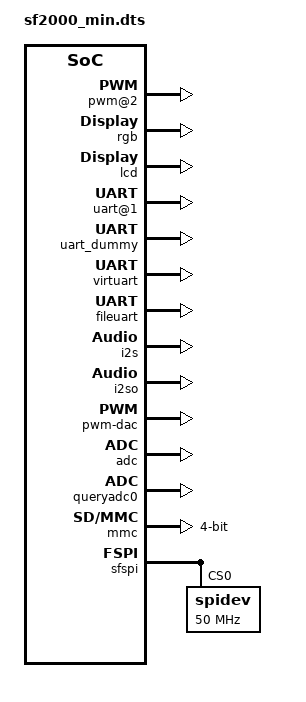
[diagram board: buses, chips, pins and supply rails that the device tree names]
/dts-v1/;

#ifndef UNIFROG_SD_BUS_WIDTH
#define UNIFROG_SD_BUS_WIDTH 4
#endif
#ifndef UNIFROG_SD_CAP_HIGHSPEED
#define UNIFROG_SD_CAP_HIGHSPEED 1
#endif
#ifndef UNIFROG_SD_CAP_UHS
#define UNIFROG_SD_CAP_UHS 1
#endif
#ifndef UNIFROG_SD_NO_1V8
#define UNIFROG_SD_NO_1V8 0
#endif

#include <dt-bindings/gpio/gpio.h>
#include <uapi/hcuapi/pinpad.h>
#include <uapi/hcuapi/pinmux/hc15xx_pinmux.h>

#define CONFIG_MEMORY_SIZE 0x08000000

#if (CONFIG_MEMORY_SIZE == 0x04000000)
#define CONFIG_MEDIAPLAYER_ROTATE_HIGH_QUALITY 0 
#else
//0:MAX SCALE FACTOR:1/2
//1:MAX SCALE FACTOR:1:1(NEED MORE MEMORY)
#define CONFIG_MEDIAPLAYER_ROTATE_HIGH_QUALITY 0
#endif

#define CONFIG_VIDEO_IN_SHARE_WITH_VDEC 1
#define CONFIG_HDMI_RX_SUPPORT 0
#define CONFIG_VIN_DVP_SUPPORT 0
#define CONFIG_VIN_TVDEC_SUPPORT 0 
#define CONFIG_VIDEO_IN_SUPPORT (CONFIG_HDMI_RX_SUPPORT | CONFIG_VIN_DVP_SUPPORT | CONFIG_VIN_TVDEC_SUPPORT)
#define CONFIG_DE4K_OUTPUT_SUPPORT 0
#define CONFIG_DUAL_OUTPUT_SUPPORT 1
#define CONFIG_VGA_OUTPUT_SUPPORT 1
#define CONFIG_CVBS_OUTPUT_SUPPORT 1

#define CONFIG_MM_FB_SIZE (0x10cf200)
#define CONFIG_MM_VBV_SIZE (0x12c000)
#define CONFIG_MM_MF_SIZE (0x198c00)
#define CONFIG_MM_VIN_FB_SIZE (1920*1088*2*3)
#define CONFIG_MM_VC_FB_SIZE (736*576*2*2)

#define MAX_EXTRA_FB_NUM (3)
#define MAX_REF_FB_NUM (7)		//if usb wired cast:MIN NUM:5
#define MAX_TOTAL_FB_NUM (MAX_REF_FB_NUM + MAX_EXTRA_FB_NUM)
#define MAX_WIDTH (720)
#define MAX_HEIGHT (576)
#define MAX_MB_WIDTH (MAX_WIDTH / 16)
#define MAX_MB_HEIGHT (MAX_HEIGHT / 16)
#define ONE_MV_SIZE (32 * MAX_MB_WIDTH * MAX_MB_HEIGHT)
#define AVC_MV_SIZE (ONE_MV_SIZE * MAX_TOTAL_FB_NUM)
#define AVC_MB_COL_SIZE (0x3000 * MAX_TOTAL_FB_NUM)
#if (CONFIG_MEDIAPLAYER_ROTATE_HIGH_QUALITY == 1)
#define MAX_SCALE_BUF_NUM (13 - MAX_TOTAL_FB_NUM)
#else
#define MAX_SCALE_BUF_NUM (0)
#endif
#define AVC_TOTAL_FB_SIZE (MAX_WIDTH*MAX_HEIGHT*3/2*(MAX_TOTAL_FB_NUM+MAX_SCALE_BUF_NUM))
#define AVC_MEM_SIZE ((AVC_TOTAL_FB_SIZE + AVC_MB_COL_SIZE + AVC_MV_SIZE+ 1023)&0xFFFFFFC00 )

#define CONFIG_AVC_MB_NEI_SIZE (0xf000)
#define CONFIG_AVC_CMD_QUEUE_SIZE (0x10000)
#define CONFIG_AVC_VBV_SIZE (0x80000)
#define CONFIG_AVC_MEM_SIZE AVC_MEM_SIZE
#define CONFIG_AVC_TOTAL_SIZE                                                  \
	(CONFIG_AVC_MB_NEI_SIZE + CONFIG_AVC_CMD_QUEUE_SIZE +                  \
	 CONFIG_AVC_VBV_SIZE + CONFIG_AVC_MEM_SIZE)

#define __HCRTOS_MMZ0_SIZE                                                     \
	(CONFIG_AVC_TOTAL_SIZE +                                               \
	 (CONFIG_DUAL_OUTPUT_SUPPORT * CONFIG_MM_VC_FB_SIZE) +               \
	 ((CONFIG_VIDEO_IN_SUPPORT && (!CONFIG_VIDEO_IN_SHARE_WITH_VDEC)) * CONFIG_MM_VIN_FB_SIZE))

#define HCRTOS_MMZ_BLOCKLOG (12)
#define HCRTOS_MMZ0_SIZE (0)
#define HCRTOS_MMZ0_OFFSET (CONFIG_MEMORY_SIZE)

#define UNIFROG_SYSMEM_MIN_SIZE (0x03000000)
#define UNIFROG_FASTBOOT_RESERVED_SIZE (0x00019000)
#define UNIFROG_APPMEM_SIZE                                                    \
	(CONFIG_MEMORY_SIZE > UNIFROG_SYSMEM_MIN_SIZE ?                       \
	 (CONFIG_MEMORY_SIZE - UNIFROG_SYSMEM_MIN_SIZE -                     \
	  UNIFROG_FASTBOOT_RESERVED_SIZE) :                                   \
	 0)
#define UNIFROG_APPMEM_OFFSET (UNIFROG_SYSMEM_MIN_SIZE)
#define UNIFROG_FASTBOOT_RESERVED_OFFSET                                       \
	(CONFIG_MEMORY_SIZE - UNIFROG_FASTBOOT_RESERVED_SIZE)

#define HCRTOS_SYSMEM_SIZE (UNIFROG_SYSMEM_MIN_SIZE)
#define HCRTOS_SYSMEM_OFFSET (0)

#define HCRTOS_BOOTMEM_SIZE (0x1000000)
#define HCRTOS_BOOTMEM_OFFSET (((HCRTOS_SYSMEM_SIZE < 0xc000000 ? HCRTOS_SYSMEM_SIZE : 0xc000000) - 0x1000000) & 0xffff0000)

/{
hcrtos {
	#address-cells = <1>;
	#size-cells = <1>;
	memory-mapping {
		#address-cells = <1>;
		#size-cells = <1>;
		bootmem {
			reg = <HCRTOS_BOOTMEM_OFFSET HCRTOS_BOOTMEM_SIZE>;
		};

		sysmem {
			reg = <HCRTOS_SYSMEM_OFFSET HCRTOS_SYSMEM_SIZE>;
		};

		appmem {
			reg = <UNIFROG_APPMEM_OFFSET UNIFROG_APPMEM_SIZE>;
		};

		fastboot_reserved {
			reg = <UNIFROG_FASTBOOT_RESERVED_OFFSET UNIFROG_FASTBOOT_RESERVED_SIZE>;
		};

		mmz0 {
			id = <0>;
			reg = <HCRTOS_MMZ0_OFFSET HCRTOS_MMZ0_SIZE>;
			blocklog = <HCRTOS_MMZ_BLOCKLOG>;
		};
	};

	board {
		label = "hc1512a@dbB210";
	};

	scpu {
		/*
		 * 0 : 594M
		 * 1 : 396M
		 * 2 : 297M
		 * 3 : 198M
		 * 4 : 198M
		 * 5 : 198M
		 * 6 : 198M
		 * 7 : SCPU dig pll clk
		 */
		clock = <7>;
		scpu-dig-pll-clk = <810>;
	};

	standby {
		ir = <28>;  	// key val
	};

	hdmi {
		/*
		 * 0: fxde
		 * 1: de4k
		 * 2: hdmi rx
		 * 3: pq rgb
		 */
		tx_source = <CONFIG_DE4K_OUTPUT_SUPPORT>;
		i2c-devpath = "/dev/i2c1";
		pinmux-hotplug = <PINPAD_L27 5>;
		status = "disabled";
	};

	video-engine {
		/*
		 * 0 : 170M
		 * 1 : 148M
		 * 2 : 238M
		 * 3 : 266M
		 * 4 : 297M
		 * 5 : 198M
		 * 6 : SCPU dig pll clk/2
		 */
		clock = <4>;
		dynamic-resolution-support = <0>;
		video-in-support = <CONFIG_VIDEO_IN_SUPPORT>;

		mm-fb-size = <CONFIG_MM_FB_SIZE>;
		mm-vbv-size = <CONFIG_MM_VBV_SIZE>;
		mm-mf-size = <CONFIG_MM_MF_SIZE>;
		mm-vin-fb-size = <CONFIG_MM_VIN_FB_SIZE>;

		avc-extra-fb-num = <MAX_EXTRA_FB_NUM>;
		avc-mb-nei-size = <CONFIG_AVC_MB_NEI_SIZE>;
		avc-cmd-queue-size = <CONFIG_AVC_CMD_QUEUE_SIZE>;
		avc-vbv-size = <CONFIG_AVC_VBV_SIZE>;
		avc-mem-size = <CONFIG_AVC_MEM_SIZE>;
		status = "okay";
	};

	DE: de-engine {
		dual-output = <CONFIG_DUAL_OUTPUT_SUPPORT>;
		mm-vc-fb-size = <CONFIG_MM_VC_FB_SIZE>;

		de4k-output = <CONFIG_DE4K_OUTPUT_SUPPORT>;
		/*
		 * copy it from avp-custom/components/kernel/source/include/uapi/hcuapi/tvtype.h
		 * TV_PAL = 0,			// (Fh=15.625,fv=50)       PAL4.43 (==PAL_BDGHI)
		 * TV_NTSC = 1,			// (Fh=15.734,Fv=59.94)    NTSC3.58
		 * TV_PAL_M = 2,			// (Fh=15.734,Fv=59.94)    PAL3.58
		 * TV_PAL_N = 3,			// (Fh=15.625,fv=50)       PAL4.43 (changed PAL mode) 
		 * TV_PAL_60 = 4,			// (Fh=15.734,Fv=59.94)
		 * TV_NTSC_443 = 5,		// (Fh=15.734,Fv=59.94)
		 * TV_LINE_720_25 = 6,
		 * TV_LINE_720_30 = 7,
		 * TV_LINE_1080_25 = 8,
		 * TV_LINE_1080_30 = 9,
		 * TV_LINE_1080_50 = 10,
		 * TV_LINE_1080_60 = 11,
		 * TV_LINE_1080_24 = 12,
		 * TV_PAL_NC = 13,			// (Fh=15.625,fv=50)       PAL3.58 (changed PAL mode)
		 * TV_LINE_640X480_50 = 14,
		 * TV_LINE_800X480_60 = 15,
		 * TV_LINE_1024X768_60 = 16,
		 * TV_LINE_1360X768_60 = 17,
		 * TV_LINE_1280X960_60 = 18,
		 * TV_LINE_1280X1024_60 = 19,
		 * TV_LINE_1024X768_50 = 20,
		 * TV_LINE_1080_55 = 21,
		 * TV_LINE_768X1024_60 = 22,
		 * TV_LINE_4096X2160_30 = 23,
		 * TV_LINE_3840X2160_30 = 24,
		*/

		tvtype = <15>;
		cvbs-output = <CONFIG_CVBS_OUTPUT_SUPPORT>;
		vga-output = <CONFIG_VGA_OUTPUT_SUPPORT>;
		bt1220-output = <0>;
		status = "okay";
	};

	pwm@0 {
		devpath = "/dev/pwm0";
		status = "disabled";
	};

	pwm@2 {
		pinmux-active = <PINPAD_R05 PINMUX_R05_PWM_2>;
		devpath = "/dev/pwm2";
		polarity = <1>;
		status = "okay";
	};

	rgb {
		pinmux-active = <
			// PINPAD_R08 PINMUX_R08_PRGB_R0
			// PINPAD_T00 PINMUX_T00_PRGB_R1
			PINPAD_T06 PINMUX_T06_PRGB_R7
			PINPAD_T05 PINMUX_T05_PRGB_R6
			PINPAD_T04 PINMUX_T04_PRGB_R5
			PINPAD_T03 PINMUX_T03_PRGB_R4
			PINPAD_T02 PINMUX_T02_PRGB_R3
			PINPAD_T14 PINMUX_T14_PRGB_G7
			PINPAD_T13 PINMUX_T13_PRGB_G6
			PINPAD_T12 PINMUX_T12_PRGB_G5
			PINPAD_T11 PINMUX_T11_PRGB_G4
			PINPAD_T10 PINMUX_T10_PRGB_G3
			PINPAD_T09 PINMUX_T09_PRGB_G2
			PINPAD_L06 PINMUX_L06_PRGB_B7
			PINPAD_L05 PINMUX_L05_PRGB_B6
			PINPAD_L04 PINMUX_L04_PRGB_B5
			PINPAD_L03 PINMUX_L03_PRGB_B4
			PINPAD_L02 PINMUX_L02_PRGB_B3
			//PINPAD_L01 PINMUX_L01_PRGB_B2
			//PINPAD_L02 PINMUX_L02_PRGB_B3
			//PINPAD_L03 PINMUX_L03_PRGB_B4
			//PINPAD_L04 PINMUX_L04_PRGB_B5
			//PINPAD_L05 PINMUX_L05_PRGB_B6
			//PINPAD_L06 PINMUX_L06_PRGB_B7
			PINPAD_L07 PINMUX_L07_PRGB_CLK
			//PINPAD_L08 PINMUX_L08_PRGB_HSYN
			PINPAD_L09 PINMUX_L09_PRGB_VSYNC
			PINPAD_L10 PINMUX_L10_PRGB_DE>;
		vcom-pwmdev = "/dev/pwm0";
		vcom-frequency = <10000>;
		vcom-duty = <20>;
		status = "okay";
	};

	lcd-st7789v2 {
        device_type = "hichip,hcrtos-setup-setbit";
        reg_bit = <0xb8800094 16 1>;
		lcd_cs = <PINPAD_L10>;
		lcd_rs = <PINPAD_T01>;
		lcd_wr = <PINPAD_L07>;
		lcd_rd = <PINPAD_T00>;
		lcd_reset = <PINPAD_L01>;
        lcd_vsync = <PINPAD_L08>;
		lcd_d0 = <PINPAD_L02>;
		lcd_d1 = <PINPAD_L03>;
		lcd_d2 = <PINPAD_L04>;
		lcd_d3 = <PINPAD_L05>;
		lcd_d4 = <PINPAD_L06>;
		lcd_d5 = <PINPAD_T09>;
		lcd_d6 = <PINPAD_T10>;
		lcd_d7 = <PINPAD_T11>;
		lcd_d8 = <PINPAD_T12>;
		lcd_d9 = <PINPAD_T13>;
		lcd_d10 = <PINPAD_T14>;
		lcd_d11 = <PINPAD_T02>;
		lcd_d12 = <PINPAD_T03>;
		lcd_d13 = <PINPAD_T04>;
		lcd_d14 = <PINPAD_T05>;
		lcd_d15 = <PINPAD_T06>;
        pinmux-rgb = <
            PINPAD_T06 PINMUX_T06_PRGB_R7
            PINPAD_T05 PINMUX_T05_PRGB_R6
            PINPAD_T04 PINMUX_T04_PRGB_R5
            PINPAD_T03 PINMUX_T03_PRGB_R4
            PINPAD_T02 PINMUX_T02_PRGB_R3
            PINPAD_T14 PINMUX_T14_PRGB_G7
            PINPAD_T13 PINMUX_T13_PRGB_G6
            PINPAD_T12 PINMUX_T12_PRGB_G5
            PINPAD_T11 PINMUX_T11_PRGB_G4
            PINPAD_T10 PINMUX_T10_PRGB_G3
            PINPAD_T09 PINMUX_T09_PRGB_G2
            PINPAD_L06 PINMUX_L06_PRGB_B7
            PINPAD_L05 PINMUX_L05_PRGB_B6
            PINPAD_L04 PINMUX_L04_PRGB_B5
            PINPAD_L03 PINMUX_L03_PRGB_B4
            PINPAD_L02 PINMUX_L02_PRGB_B3
            PINPAD_L07 PINMUX_L07_PRGB_CLK
            PINPAD_L10 PINMUX_L10_PRGB_DE>;
        pinmux-control = <
            PINPAD_T06 PINMUX_T06_GPIO
            PINPAD_T05 PINMUX_T05_GPIO
            PINPAD_T04 PINMUX_T04_GPIO
            PINPAD_T03 PINMUX_T03_GPIO
            PINPAD_T02 PINMUX_T02_GPIO
            PINPAD_T14 PINMUX_T14_GPIO
            PINPAD_T13 PINMUX_T13_GPIO
            PINPAD_T12 PINMUX_T12_GPIO
            PINPAD_T11 PINMUX_T11_GPIO
            PINPAD_T10 PINMUX_T10_GPIO
            PINPAD_T09 PINMUX_T09_GPIO
            PINPAD_L06 PINMUX_L06_GPIO
            PINPAD_L05 PINMUX_L05_GPIO
            PINPAD_L04 PINMUX_L04_GPIO
            PINPAD_L03 PINMUX_L03_GPIO
            PINPAD_L02 PINMUX_L02_GPIO
            PINPAD_L07 PINMUX_L07_GPIO
            PINPAD_L10 PINMUX_L10_GPIO
            PINPAD_T01 PINMUX_T01_GPIO
            PINPAD_T00 PINMUX_T00_GPIO
            PINPAD_L01 PINMUX_L01_GPIO>;
		status = "okay";
	};

	lcd{
		lcd-map-name = "lcd-st7789v2";
		status = "okay";
	};

	backlight {
		pinmux-active = <PINPAD_R05 PINMUX_R05_PWM_2>;
		backlight-gpios-rtos = <PINPAD_R05 GPIO_ACTIVE_LOW>;
		backlight-pwmdev = "/dev/pwm2";
		backlight-frequency = <10000>;
		polarity = <1>;
		brightness-levels = <0 1 2 4 6 8 10 12 16 20 25 32 40 50 64 80 100>;
		default-brightness-level = <16>;
		default-off;
		status = "okay";
	};

	uart@0 {
		devpath = "/dev/uart0";
		status = "disabled";
	};

	uart@1 {
		pinmux-active = <PINPAD_R08 PINMUX_R08_UART1_TX>;
		devpath = "/dev/uart1";
		status = "okay";
	};

	uart_dummy {
		devpath = "/dev/uart_dummy";
		status = "okay";
	};

	virtuart {
		devpath = "/dev/virtuart";
		status = "okay";
	};

    fileuart {
        devpath = "/dev/fileuart";
        status = "okay";
    };

	stdio {
		serial0 = "/hcrtos/uart_dummy";
	};

	boot-stdio {
		serial0 = "/hcrtos/uart@1";
	};

	bluetooth {
		devpath = "/dev/uart1";
		status = "disabled";
	};

	i2c@0{
		pinmux-active = <PINPAD_L28 3 PINPAD_L29 3>;
		device_type = "hichip,hcrtos-setup-setbit";
		reg_bit = <0xb8800094 18 1>;
		devpath = "/dev/i2c0";
		baudrate = <100000>;
		mode = "master";
		/*
		 * The stock wireless controller RF bus bit-bangs GPIO L27/L28/L29.
		 * Leave L28/L29 free for the native app instead of claiming
		 * them as I2C0 pins at boot.
		 */
		status = "disabled";
	};

	i2s {
		status = "okay";
	};

	i2so { // Sound Output Device
		volume = <90>; //Volume ranges from 0 - 100 in %. Using 90% to avoid clipping
		status = "okay";
	};

    pwm-dac { // Required for sound to work on this board, as DAC is only powered by PWM on this board.
        status = "okay";
    };

    i2si { // Sound Input device
		volume = <90>; //Volume ranges from 0 - 100 in %. Using 90% to avoid clipping
		status = "disabled";
	};

	spdif-out {
		status = "disabled";
	};

	/*
	 * Match the HC15xx reference board's early external GPIO defaults.
	 * Keep the SDIO L16-L21 group under the MMC pinmux; only non-SDIO
	 * RF/front-panel side-band lines are established here.
	 */
	gpio-out-def {
		status = "okay";
		gpio-group = <PINPAD_B02 GPIO_ACTIVE_HIGH>,
			<PINPAD_L24 GPIO_ACTIVE_LOW>,
			<PINPAD_L25 GPIO_ACTIVE_HIGH>,
			<PINPAD_L26 GPIO_ACTIVE_HIGH>,
			<PINPAD_L27 GPIO_ACTIVE_LOW>;
	};

	irc {
		pinmux-active = <PINPAD_R07 7>;
		linux,rc-map-name = "rc-hcdemo";
		status = "okay";
	};

	adc {
		devpath = "/dev/adc";
		adc_ref_voltage = <1890>;  /* voltage value(mV) when no any key pressed */
		status = "okay";
	};

	queryadc0 {
		devpath = "/dev/queryadc0";
		status = "okay";
	};

	mmc {
		//hcrtos-compatible = "hichip,dw-mshc";
		// compatible = "snps,dw-mshc";
		reg = <0x1884C000 0x2000>;
		card-detect-delay = <200>;
		clock-frequency = <198000000>;
		interrupts = <10>;
		pinmux-active = <PINPAD_L16 4 PINPAD_L17 4 PINPAD_L18 4 PINPAD_L19 4 PINPAD_L20 4 PINPAD_L21 4 PINPAD_L22 0>;
		bus-width = <UNIFROG_SD_BUS_WIDTH>;
		broken-cd;
		cd-gpios = <PINPAD_L22 1>;
		//non-removable;

#if UNIFROG_SD_CAP_HIGHSPEED
		cap-sd-highspeed;
		supports-highspeed;
#endif
#if UNIFROG_SD_CAP_UHS
		sd-uhs-sdr12;
		sd-uhs-sdr25;
		sd-uhs-sdr50;
#endif
#if UNIFROG_SD_NO_1V8
		no-support_1_8v;
#endif
		status = "okay";
	};
	
	persistentmem {
		mtdname = "persistentmem";
		size = <4096>;
		status = "disabled";
	};

	sfspi {
		pinmux-active = <PINPAD_L11 1 PINPAD_L12 1 PINPAD_L13 1 PINPAD_L14 1>;
		sclk = <50000000>;
		dma-mode = <1>;
		status = "okay";

		spi_nor_flash {
			spi-tx-bus-width = <1>;
			spi-rx-bus-width = <1>;
			reg = <0>;
			status = "okay";
			partitions {
				part-num = <0>;

				/* part0 is for entire norflash by default */
				/* Old Partition Table, Removed for now
				part1-label = "boot";
				part1-reg = <0x0 0x60000>;
				part1-filename = "bootloader.bin";

				part2-label = "eromfs";
				part2-reg = <0x60000 0x20000>;
				part2-filename = "romfs.img";

				part3-label = "firmware";
				part3-reg = <0x80000 0x360000>;
				part3-filename = "hcdemo.uImage";

				part4-label = "persistentmem";
				part4-reg = <0x3e0000 0x20000>;
				part4-filename = "persistentmem.bin"; */
			};
		};

		spidev@0 {
			devpath = "/dev/spidev0";
			reg = <0>;
			spi-max-frequency = <50000000>;
			status = "okay";
		};
	};

#if (CONFIG_DE4K_OUTPUT_SUPPORT == 1)
#define CONFIG_FB0_REG 0xb883a000
#define CONFIG_FB1_REG 0xb883a080
#else
#define CONFIG_FB0_REG 0xb8808000
#define CONFIG_FB1_REG 0xb8808080
#endif

	fb0 {
		bits_per_pixel = <16>;
		xres = <320>;
		yres = <240>;
		xres_virtual = <320>;
		yres_virtual = <240>;
		xoffset = <0>;
		yoffset = <0>;

		scale = <320 240 320 240>;

		reg = <CONFIG_FB0_REG 0x1000>;
		/*
		 * frame buffer memory from:
		 * system : malloc buffer from system heap
		 * mmz0   : malloc buffer from mmz0
		 * none   : set buffer by user
		 * default is system if the property is missing
		 */
		buffer-source = "system";
		extra-buffer-size = <0x9CA000>;//<0x4a9800>;
		status = "okay";
	};

	fb1 {
		reg = <CONFIG_FB1_REG 0x1000>;
		status = "disabled";
	};

	rotate {
		/*
		 * anticlockwise,
		 * support 0/90/180/270 degree.
		 */
		rotate = <0>;

		/*
		* value is 0 or 1, support fliping may use more fb memory
		* flip_support = 1, support fb fliped
		*/
		flip_support = <0>;

		/*
		 * value is 0 or 1
		 * h_flip = 1 is horizontally fliped
		 * v_flip = 1 is vertically fliped
		 */
		h_flip = <0>;
		v_flip = <0>;

		status = "disabled";
	};

	usb0 {  // usb_host0 / usb_peripheral0
		reg = <0x18844000 0x1000>;
		interrupts = <53>,<52>;
		interrupt-names = "mc","dma";
		dr_mode = "host";  // host/peripheral
		index_num = <0>;
		ctrl_base = <0x18800000>;
		status = "disabled";
	};

	usb1 {  // usb_host1/ usb_peripheral1
		reg = <0x18850000 0x1000>;
		interrupts = <51>, <50>;
		interrupt-names = "mc", "dma";
		dr_mode = "host";
		index_num = <1>;
		ctrl_base = <0x18800000>;
		status = "disabled";
	};

	ge: ge@18806000 {
	    reg = <0xb8806000 0x2000>, <0xb8800000 0x1000>;
	    interrupts = <4>; 
	    cmdq_buf_size = <0x3c000>;
	    status = "okay";
    	}; 
	dsc: dsc@0x18870000 {
	     compatible = "hichip,dsc";
	     reg = <0xb8834000 0x1000>;
	     interrupts = <44>;
	     status = "okay";
     	}; 
};
};

&DE {
	VPInitInfo {
		rgb-cfg{
			b-rgb-enable = <1>;
			/*
			* 0: MODE_PRGB
			* 1: MODE_SRGB
			*/
			rgb-mode = <0>;
			/*
			* 0: MODE_PRGB_888_10bit 
			* 1: MODE_PRGB_666
			*/
			prgb-mode = <0>;
			lcd-width = <320>;
			b-disable-ejtag = <1>;
			b-dlpc-enale = <0>;
			timing-para {
				/* bool type, 0 or 1*/
				b-enable = <1>;
				/*
				* VPO_RGB_CLOCK_27M = 1,
				* VPO_RGB_CLOCK_33M = 2,
				* VPO_RGB_CLOCK_49M = 3,
				* VPO_RGB_CLOCK_66M = 4,
				* VPO_RGB_CLOCK_74M = 5,
				* VPO_RGB_CLOCK_85M = 6,
				* VPO_RGB_CLOCK_108M = 7,//H1600
				* VPO_RGB_CLOCK_6_6M = 8,
				* VPO_RGB_CLOCK_9M = 9,
				* VPO_RGB_CLOCK_39_6M = 10,
				* VPO_RGB_CLOCK_74_25M = 11,//H1600
				* VPO_RGB_CLOCK_148_5M = 12,//H1600
				* VPO_RGB_CLOCK_54M = 13,//H1600
				* VPO_RGB_CLOCK_132M = 14,//H1600
				*/
				output-clock = <8>;

				h-total-len = <444>;
				v-total-len = <304>;

				h-active-len = <320>;
				v-active-len = <240>;

				h-front-len = <23>;
				h-sync-len = <2>;
				h-back-len = <5>;

				v-front-len = <18>;
				v-sync-len = <36>;
				v-back-len = <10>;
				/* bool type, 0 or 1*/
				h-sync-level = <0>;
				/* bool type, 0 or 1*/
				v-sync-level = <0>;

				/* bool type, 0 or 1*/
				active-polarity = <0>;
				frame-rate = <60000>;
			};
		};
	};
};
